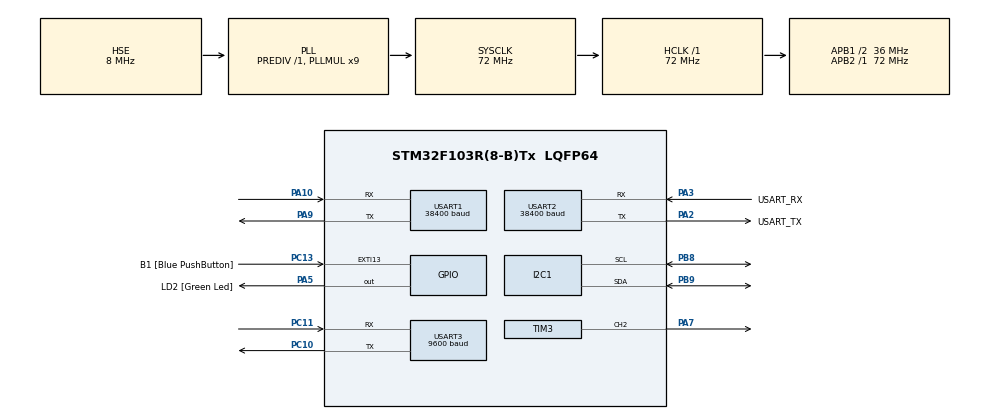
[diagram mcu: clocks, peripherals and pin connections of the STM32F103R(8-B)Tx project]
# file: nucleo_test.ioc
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I2C1.I2C_Mode=I2C_Standard
I2C1.OwnAddress=127
Mcu.Family=STM32F1
Mcu.Name=STM32F103R(8-B)Tx
Mcu.Package=LQFP64
NVIC.EXTI15_10_IRQn=true\:0\:0\:false\:false\:true\:true\:true\:true
NVIC.PriorityGroup=NVIC_PRIORITYGROUP_4
NVIC.TIM3_IRQn=true\:0\:0\:false\:false\:true\:true\:true\:true
NVIC.USART1_IRQn=true\:0\:0\:false\:false\:true\:true\:true\:true
NVIC.USART2_IRQn=true\:0\:0\:false\:false\:true\:true\:true\:true
NVIC.USART3_IRQn=true\:0\:0\:false\:false\:true\:true\:true\:true
PA10.Mode=Asynchronous
PA10.Signal=USART1_RX
PA13.GPIO_Label=TMS
PA13.Mode=Serial_Wire
PA13.Signal=SYS_JTMS-SWDIO
PA14.GPIO_Label=TCK
PA14.Mode=Serial_Wire
PA14.Signal=SYS_JTCK-SWCLK
PA2.GPIO_Label=USART_TX
PA2.GPIO_Mode=GPIO_MODE_AF_PP
PA2.GPIO_PuPd=GPIO_NOPULL
PA2.GPIO_Speed=GPIO_SPEED_FREQ_LOW
PA2.Mode=Asynchronous
PA2.Signal=USART2_TX
PA3.GPIO_Label=USART_RX
PA3.GPIO_Mode=GPIO_MODE_AF_PP
PA3.GPIO_PuPd=GPIO_NOPULL
PA3.GPIO_Speed=GPIO_SPEED_FREQ_LOW
PA3.Mode=Asynchronous
PA3.Signal=USART2_RX
PA5.GPIO_Label=LD2 [Green Led]
PA5.GPIO_ModeDefaultOutputPP=GPIO_MODE_OUTPUT_PP
PA5.GPIO_PuPd=GPIO_NOPULL
PA5.GPIO_Speed=GPIO_SPEED_FREQ_LOW
PA5.Signal=GPIO_Output
PA7.Signal=S_TIM3_CH2
PA9.Mode=Asynchronous
PA9.Signal=USART1_TX
PB3.GPIO_Label=SWO
PB3.Signal=SYS_JTDO-TRACESWO
PB8.Mode=I2C
PB8.Signal=I2C1_SCL
PB9.Mode=I2C
PB9.Signal=I2C1_SDA
PC10.Mode=Asynchronous
PC10.Signal=USART3_TX
PC11.Mode=Asynchronous
PC11.Signal=USART3_RX
PC13-TAMPER-RTC.GPIO_Label=B1 [Blue PushButton]
PC13-TAMPER-RTC.GPIO_PuPd=GPIO_NOPULL
PC13-TAMPER-RTC.Signal=GPXTI13
PC14-OSC32_IN.Signal=RCC_OSC32_IN
PC15-OSC32_OUT.Signal=RCC_OSC32_OUT
PD0-OSC_IN.Mode=HSE-External-Oscillator
PD0-OSC_IN.Signal=RCC_OSC_IN
PD1-OSC_OUT.Mode=HSE-External-Oscillator
PD1-OSC_OUT.Signal=RCC_OSC_OUT
ProjectManager.HeapSize=0x200
ProjectManager.StackSize=0x400
ProjectManager.TargetToolchain=STM32CubeIDE
RCC.AHBFreq_Value=72000000
RCC.APB1CLKDivider=RCC_HCLK_DIV2
RCC.APB1Freq_Value=36000000
RCC.APB1TimFreq_Value=72000000
RCC.APB2Freq_Value=72000000
RCC.APB2TimFreq_Value=72000000
RCC.HCLKFreq_Value=72000000
RCC.PLLMUL=RCC_PLL_MUL9
RCC.PLLSourceVirtual=RCC_PLLSOURCE_HSE
RCC.RTCClockSelection=RCC_RTCCLKSOURCE_LSE
RCC.SYSCLKFreq_VALUE=72000000
RCC.SYSCLKSource=RCC_SYSCLKSOURCE_PLLCLK
RCC.USBFreq_Value=72000000
SH.S_TIM3_CH2.0=TIM3_CH2,PWM Generation2 CH2
TIM3.Channel-PWM\ Generation2\ CH2=TIM_CHANNEL_2
TIM3.Period=1000-1
TIM3.Prescaler=1440-1
TIM3.Pulse-PWM\ Generation2\ CH2=500-1
USART1.BaudRate=38400
USART1.VirtualMode=VM_ASYNC
USART2.BaudRate=38400
USART2.VirtualMode=VM_ASYNC
USART3.BaudRate=9600
USART3.VirtualMode=VM_ASYNC
VP_TIM3_VS_ClockSourceINT.Mode=Internal
board=NUCLEO-F103RB

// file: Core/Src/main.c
/* USER CODE BEGIN Header */
/**
  ******************************************************************************
  * @file           : main.c
  * @brief          : Main program body
  ******************************************************************************
  * @attention
  *
  * Copyright (c) 2024 STMicroelectronics.
  * All rights reserved.
  *
  * This software is licensed under terms that can be found in the LICENSE file
  * in the root directory of this software component.
  * If no LICENSE file comes with this software, it is provided AS-IS.
  *
  ******************************************************************************
  */
/* USER CODE END Header */
#include "main.h"

/* USER CODE BEGIN Includes */
#include "stdio.h"
#include "i2c_lcd.h"
/* USER CODE END Includes */

I2C_HandleTypeDef hi2c1;

TIM_HandleTypeDef htim3;

UART_HandleTypeDef huart1;
UART_HandleTypeDef huart2;
UART_HandleTypeDef huart3;

/* USER CODE BEGIN PV */
uint8_t RX_FSRH1S_INDX;
uint8_t RX_HC05_INDX;
uint8_t RX_DATA_FSRH1S[5];
uint8_t RX_DATA_HC05[5];
//uint8_t transfer_cplt;
uint8_t FSRH1S_MAX_LENGTH = 14;
uint8_t HC05_MAX_LENGTH = 4;
uint8_t RX_FSRH1S_BUFFER[14];
uint8_t RX_HC05_BUFFER[4];
uint8_t flag= 0;
I2C_HandleTypeDef hi2c1;
i2cLcd_HandleTypeDef h_lcd;
char strData[32];
/* USER CODE END PV */

void SystemClock_Config(void);
static void MX_GPIO_Init(void);
static void MX_USART2_UART_Init(void);
static void MX_USART3_UART_Init(void);
static void MX_USART1_UART_Init(void);
static void MX_I2C1_Init(void);
static void MX_TIM3_Init(void);

/* USER CODE BEGIN 0 */
void RFID_SECERN_USER();
void HC05_identification();
void i2cLcd_HelloGuest();
void i2cLcd_intruder();
void i2cLcd_HelloUser();
void PWM_Serovomotor();
/* USER CODE END 0 */

int main(void)
{

  /* USER CODE BEGIN 1 */
	uint8_t i2c_lcd_addr = (0x27<<1);
  /* USER CODE END 1 */

  /* MCU Configuration--------------------------------------------------------*/

  /* Reset of all peripherals, Initializes the Flash interface and the Systick. */
  HAL_Init();

  /* Configure the system clock */
  SystemClock_Config();

  /* Initialize all configured peripherals */
  MX_GPIO_Init();
  MX_USART2_UART_Init();
  MX_USART3_UART_Init();
  MX_USART1_UART_Init();
  MX_I2C1_Init();
  MX_TIM3_Init();
  /* USER CODE BEGIN 2 */
  HAL_UART_Receive_IT(&huart2, RX_DATA_FSRH1S, 1);
  HAL_UART_Receive_IT(&huart3, RX_DATA_HC05, 1); // sss
  HAL_UART_Receive_IT(&huart1, RX_DATA_FSRH1S, 1);
  HAL_TIM_PWM_Start(&htim3,TIM_CHANNEL_2); // Add PWM Servo Motor
  i2cLcd_CreateHandle(&h_lcd, &hi2c1, i2c_lcd_addr);
  i2cLcd_Init(&h_lcd);
  //i2cLcd_ClearDisplay(&h_lcd);
  //sprintf(strData,"Hello world!!");
  // HAL_Delay(1000);
  /* USER CODE END 2 */

  /* Infinite loop */
  /* USER CODE BEGIN WHILE */
	  while (1)
	  {
		  switch(flag)
		  {
		  	  case 0 :
		  		  i2cLcd_HelloGuest();
			  	  break;
		  	  case 1 :
		  		  i2cLcd_HelloUser();
		  		  PWM_Serovomotor();
		  		  break;
		  	  case 2 :
		  		  i2cLcd_intruder();
		  		  break;
		  	  default :
		  		  break;
		  }
    /* USER CODE END WHILE */

    /* USER CODE BEGIN 3 */
	  }

    /* USER CODE END WHILE */

    /* USER CODE BEGIN 3 */

  /* USER CODE END 3 */
}

void SystemClock_Config(void)
{
  RCC_OscInitTypeDef RCC_OscInitStruct = {0};
  RCC_ClkInitTypeDef RCC_ClkInitStruct = {0};

  /** Initializes the RCC Oscillators according to the specified parameters
  * in the RCC_OscInitTypeDef structure.
  */
  RCC_OscInitStruct.OscillatorType = RCC_OSCILLATORTYPE_HSE;
  RCC_OscInitStruct.HSEState = RCC_HSE_ON;
  RCC_OscInitStruct.HSEPredivValue = RCC_HSE_PREDIV_DIV1;
  RCC_OscInitStruct.HSIState = RCC_HSI_ON;
  RCC_OscInitStruct.PLL.PLLState = RCC_PLL_ON;
  RCC_OscInitStruct.PLL.PLLSource = RCC_PLLSOURCE_HSE;
  RCC_OscInitStruct.PLL.PLLMUL = RCC_PLL_MUL9;
  if (HAL_RCC_OscConfig(&RCC_OscInitStruct) != HAL_OK)
  {
    Error_Handler();
  }

  /** Initializes the CPU, AHB and APB buses clocks
  */
  RCC_ClkInitStruct.ClockType = RCC_CLOCKTYPE_HCLK|RCC_CLOCKTYPE_SYSCLK
                              |RCC_CLOCKTYPE_PCLK1|RCC_CLOCKTYPE_PCLK2;
  RCC_ClkInitStruct.SYSCLKSource = RCC_SYSCLKSOURCE_PLLCLK;
  RCC_ClkInitStruct.AHBCLKDivider = RCC_SYSCLK_DIV1;
  RCC_ClkInitStruct.APB1CLKDivider = RCC_HCLK_DIV2;
  RCC_ClkInitStruct.APB2CLKDivider = RCC_HCLK_DIV1;

  if (HAL_RCC_ClockConfig(&RCC_ClkInitStruct, FLASH_LATENCY_2) != HAL_OK)
  {
    Error_Handler();
  }
}

static void MX_I2C1_Init(void)
{

  hi2c1.Instance = I2C1;
  hi2c1.Init.ClockSpeed = 100000;
  hi2c1.Init.DutyCycle = I2C_DUTYCYCLE_2;
  hi2c1.Init.OwnAddress1 = 254;
  hi2c1.Init.AddressingMode = I2C_ADDRESSINGMODE_7BIT;
  hi2c1.Init.DualAddressMode = I2C_DUALADDRESS_DISABLE;
  hi2c1.Init.OwnAddress2 = 0;
  hi2c1.Init.GeneralCallMode = I2C_GENERALCALL_DISABLE;
  hi2c1.Init.NoStretchMode = I2C_NOSTRETCH_DISABLE;
  if (HAL_I2C_Init(&hi2c1) != HAL_OK)
  {
    Error_Handler();
  }

}

static void MX_TIM3_Init(void)
{

  TIM_ClockConfigTypeDef sClockSourceConfig = {0};
  TIM_MasterConfigTypeDef sMasterConfig = {0};
  TIM_OC_InitTypeDef sConfigOC = {0};

  htim3.Instance = TIM3;
  htim3.Init.Prescaler = 1440-1;
  htim3.Init.CounterMode = TIM_COUNTERMODE_UP;
  htim3.Init.Period = 1000-1;
  htim3.Init.ClockDivision = TIM_CLOCKDIVISION_DIV1;
  htim3.Init.AutoReloadPreload = TIM_AUTORELOAD_PRELOAD_DISABLE;
  if (HAL_TIM_Base_Init(&htim3) != HAL_OK)
  {
    Error_Handler();
  }
  sClockSourceConfig.ClockSource = TIM_CLOCKSOURCE_INTERNAL;
  if (HAL_TIM_ConfigClockSource(&htim3, &sClockSourceConfig) != HAL_OK)
  {
    Error_Handler();
  }
  if (HAL_TIM_PWM_Init(&htim3) != HAL_OK)
  {
    Error_Handler();
  }
  sMasterConfig.MasterOutputTrigger = TIM_TRGO_RESET;
  sMasterConfig.MasterSlaveMode = TIM_MASTERSLAVEMODE_DISABLE;
  if (HAL_TIMEx_MasterConfigSynchronization(&htim3, &sMasterConfig) != HAL_OK)
  {
    Error_Handler();
  }
  sConfigOC.OCMode = TIM_OCMODE_PWM1;
  sConfigOC.Pulse = 500-1;
  sConfigOC.OCPolarity = TIM_OCPOLARITY_HIGH;
  sConfigOC.OCFastMode = TIM_OCFAST_DISABLE;
  if (HAL_TIM_PWM_ConfigChannel(&htim3, &sConfigOC, TIM_CHANNEL_2) != HAL_OK)
  {
    Error_Handler();
  }
  HAL_TIM_MspPostInit(&htim3);

}

static void MX_USART1_UART_Init(void)
{

  huart1.Instance = USART1;
  huart1.Init.BaudRate = 38400;
  huart1.Init.WordLength = UART_WORDLENGTH_8B;
  huart1.Init.StopBits = UART_STOPBITS_1;
  huart1.Init.Parity = UART_PARITY_NONE;
  huart1.Init.Mode = UART_MODE_TX_RX;
  huart1.Init.HwFlowCtl = UART_HWCONTROL_NONE;
  huart1.Init.OverSampling = UART_OVERSAMPLING_16;
  if (HAL_UART_Init(&huart1) != HAL_OK)
  {
    Error_Handler();
  }

}

static void MX_USART2_UART_Init(void)
{

  huart2.Instance = USART2;
  huart2.Init.BaudRate = 38400;
  huart2.Init.WordLength = UART_WORDLENGTH_8B;
  huart2.Init.StopBits = UART_STOPBITS_1;
  huart2.Init.Parity = UART_PARITY_NONE;
  huart2.Init.Mode = UART_MODE_TX_RX;
  huart2.Init.HwFlowCtl = UART_HWCONTROL_NONE;
  huart2.Init.OverSampling = UART_OVERSAMPLING_16;
  if (HAL_UART_Init(&huart2) != HAL_OK)
  {
    Error_Handler();
  }

}

static void MX_USART3_UART_Init(void)
{

  huart3.Instance = USART3;
  huart3.Init.BaudRate = 9600;
  huart3.Init.WordLength = UART_WORDLENGTH_8B;
  huart3.Init.StopBits = UART_STOPBITS_1;
  huart3.Init.Parity = UART_PARITY_NONE;
  huart3.Init.Mode = UART_MODE_TX_RX;
  huart3.Init.HwFlowCtl = UART_HWCONTROL_NONE;
  huart3.Init.OverSampling = UART_OVERSAMPLING_16;
  if (HAL_UART_Init(&huart3) != HAL_OK)
  {
    Error_Handler();
  }

}

static void MX_GPIO_Init(void)
{
  GPIO_InitTypeDef GPIO_InitStruct = {0};

  /* GPIO Ports Clock Enable */
  __HAL_RCC_GPIOC_CLK_ENABLE();
  __HAL_RCC_GPIOD_CLK_ENABLE();
  __HAL_RCC_GPIOA_CLK_ENABLE();
  __HAL_RCC_GPIOB_CLK_ENABLE();

  /*Configure GPIO pin Output Level */
  HAL_GPIO_WritePin(LD2_GPIO_Port, LD2_Pin, GPIO_PIN_RESET);

  /*Configure GPIO pin : B1_Pin */
  GPIO_InitStruct.Pin = B1_Pin;
  GPIO_InitStruct.Mode = GPIO_MODE_IT_RISING;
  GPIO_InitStruct.Pull = GPIO_NOPULL;
  HAL_GPIO_Init(B1_GPIO_Port, &GPIO_InitStruct);

  /*Configure GPIO pin : LD2_Pin */
  GPIO_InitStruct.Pin = LD2_Pin;
  GPIO_InitStruct.Mode = GPIO_MODE_OUTPUT_PP;
  GPIO_InitStruct.Pull = GPIO_NOPULL;
  GPIO_InitStruct.Speed = GPIO_SPEED_FREQ_LOW;
  HAL_GPIO_Init(LD2_GPIO_Port, &GPIO_InitStruct);

  /* EXTI interrupt init*/
  HAL_NVIC_SetPriority(EXTI15_10_IRQn, 0, 0);
  HAL_NVIC_EnableIRQ(EXTI15_10_IRQn);

}

/* USER CODE BEGIN 4 */
void HAL_UART_RxCpltCallback(UART_HandleTypeDef *huart)
{
  /* Prevent unused argument(s) compilation warning */
  UNUSED(huart);
  /* NOTE: This function should not be modified, when the callback is needed,
           the HAL_UART_RxCpltCallback could be implemented in the user file
   */
 // HAL_UART_Transmit(&huart2, RX_DATA_FSRH1S, 6,100);
  uint8_t i;
  uint8_t j;
  /* UART1 = RFID UART2 = main computer UART3 = HC-05*/
  if(huart ->Instance == USART1)// && huart -> Instance != USART3
  {
	  	  if(RX_FSRH1S_INDX == 0 || RX_FSRH1S_INDX == FSRH1S_MAX_LENGTH) //rx_index Arry Initialization
	  	  {
	  		  for(i=0;i<FSRH1S_MAX_LENGTH;i++)
	  		  {
	  			  RX_FSRH1S_BUFFER[i] = 0;
	  		  }
	  		  HAL_GPIO_WritePin(GPIOA,GPIO_PIN_5,GPIO_PIN_RESET);

	  		  if(RX_FSRH1S_INDX == FSRH1S_MAX_LENGTH)
	  		  {
	  			  RX_FSRH1S_INDX = 0;
	  		  }
	  	  }

	  	  if(RX_DATA_FSRH1S[0] != 13)
	  	  {
	  		RX_FSRH1S_BUFFER[RX_FSRH1S_INDX++] = RX_DATA_FSRH1S[0];
	  	  }

	  	  RFID_SECERN_USER();
	  HAL_UART_Receive_IT(&huart1, RX_DATA_FSRH1S, 1); //RFID Tag receive!!
  }
  if(huart ->Instance == USART3)
  {
		  if(RX_HC05_INDX == 0 || RX_HC05_INDX == HC05_MAX_LENGTH) //rx_index Arry Initialization
		  {
			  for(j=0;j<HC05_MAX_LENGTH;j++)
			  {
				  RX_HC05_BUFFER[j] = 0;
			  }
				  HAL_GPIO_WritePin(GPIOA,GPIO_PIN_5,GPIO_PIN_RESET);

			  if(RX_HC05_INDX == HC05_MAX_LENGTH)
			  {
				  RX_HC05_INDX = 0;
			  }
		  }
		  if(RX_DATA_HC05[0] != 13)
		  {
			  RX_HC05_BUFFER[RX_HC05_INDX++] = RX_DATA_HC05[0];
		  }
		  HC05_identification();
  }

  	  HAL_UART_Receive_IT(&huart3, RX_DATA_HC05, 1);

}

void RFID_SECERN_USER() //get UID code and secern
{
			if(RX_FSRH1S_BUFFER[0] == 0x33 && RX_FSRH1S_BUFFER[1] == 0x0E && RX_FSRH1S_BUFFER[2] == 0x1A)
		  {
		  		  if(RX_FSRH1S_BUFFER[5] == 0x6D && RX_FSRH1S_BUFFER[6] == 0x16 && RX_FSRH1S_BUFFER[7] == 0x21 && RX_FSRH1S_BUFFER[8] == 0xC2 && RX_FSRH1S_BUFFER[9] == 0x50 && RX_FSRH1S_BUFFER[10] == 0x01 && RX_FSRH1S_BUFFER[11] == 0x04 && RX_FSRH1S_BUFFER[12] == 0xE0 && RX_FSRH1S_BUFFER[13] == 0x99)
				{
					HAL_GPIO_WritePin(GPIOA,GPIO_PIN_5,GPIO_PIN_SET);
					flag =1;
				}
		  		  else if(RX_FSRH1S_BUFFER[5] == 0x2D && RX_FSRH1S_BUFFER[6] == 0x00 && RX_FSRH1S_BUFFER[7] == 0x21 && RX_FSRH1S_BUFFER[8] == 0xC2 && RX_FSRH1S_BUFFER[9] == 0x50 && RX_FSRH1S_BUFFER[10] == 0x01 && RX_FSRH1S_BUFFER[11] == 0x04 && RX_FSRH1S_BUFFER[12] == 0xE0 && RX_FSRH1S_BUFFER[13] == 0x99)
		  		{
		  			HAL_GPIO_WritePin(GPIOA,GPIO_PIN_5,GPIO_PIN_SET);
		  			flag =1;
		  		}
		  		  else if(RX_FSRH1S_BUFFER[5] == 0x42 && RX_FSRH1S_BUFFER[6] == 0x1D && RX_FSRH1S_BUFFER[7] == 0x21 && RX_FSRH1S_BUFFER[8] == 0xC2 && RX_FSRH1S_BUFFER[9] == 0x50 && RX_FSRH1S_BUFFER[10] == 0x01 && RX_FSRH1S_BUFFER[11] == 0x04 && RX_FSRH1S_BUFFER[12] == 0xE0 && RX_FSRH1S_BUFFER[13] == 0x99)
		  		{
		  			HAL_GPIO_WritePin(GPIOA,GPIO_PIN_5,GPIO_PIN_SET);
		  			flag =1;
		  		}
		  		else
		  			flag = 2;
		  }
}
void HC05_identification()
{

	if(RX_HC05_BUFFER[0] == 0x31 && RX_HC05_BUFFER[1] == 0x32 && RX_HC05_BUFFER[2] == 0x33 && RX_HC05_BUFFER[3] == 0x34)
	{
		HAL_GPIO_WritePin(GPIOA,GPIO_PIN_5,GPIO_PIN_SET);
		flag = 1;
	}
	else
		flag = 2;
}

void i2cLcd_HelloGuest()
{
	      uint8_t i=0;

		  i2cLcd_ClearDisplay(&h_lcd);
		  HAL_Delay(20);
		  i2cLcd_SetCursorPosition(&h_lcd, 0x00);
		  sprintf(strData,"Hello guest!!");
		  HAL_Delay(20);
			  while(strData[i])
			  {
				  i2cLcd_SendChar(&h_lcd, strData[i]);
				  HAL_Delay(100);
				  i++;
			  }
		  i2cLcd_SetCursorPosition(&h_lcd, 0x40);
		  i=0;
		  sprintf(strData,"Tag your UID");
			  while(strData[i])
			  {
				  i2cLcd_SendChar(&h_lcd, strData[i]);
				  HAL_Delay(100);
				  i++;
			  }
}

void i2cLcd_intruder()
{
	        uint8_t i=0;
			i2cLcd_ClearDisplay(&h_lcd);
			HAL_Delay(20);
			i2cLcd_SetCursorPosition(&h_lcd, 0x00);
			sprintf(strData,"Error!! Error!");
			HAL_Delay(20);
			while(strData[i])
			{
				i2cLcd_SendChar(&h_lcd, strData[i]);
				HAL_Delay(100);
				i++;
			}

}

void i2cLcd_HelloUser()
{
	        uint8_t i=0;
			i2cLcd_ClearDisplay(&h_lcd);
			HAL_Delay(20);
			i2cLcd_SetCursorPosition(&h_lcd, 0x00);
			sprintf(strData,"Welcome!!");
			HAL_Delay(20);
			while(strData[i])
			{
				i2cLcd_SendChar(&h_lcd, strData[i]);
				HAL_Delay(100);
				i++;
			}
			i2cLcd_SetCursorPosition(&h_lcd, 0x40);
			i=0;
			sprintf(strData,"open the door!");
			 while(strData[i])
		    {
				i2cLcd_SendChar(&h_lcd, strData[i]);
				HAL_Delay(100);
				i++;
		    }

}

void PWM_Serovomotor()
{
	__HAL_TIM_SetCompare(&htim3, TIM_CHANNEL_2,125); //open
		HAL_Delay(3000); // 1000ms
	__HAL_TIM_SetCompare(&htim3, TIM_CHANNEL_2, 25); //close
		HAL_Delay(500); // 1000ms
}

void HAL_TIM_PeriodElapsedCallback(TIM_HandleTypeDef *htim)
{
  if(htim->Instance == TIM2)
  {
    HAL_GPIO_TogglePin(GPIOA, GPIO_PIN_5);
  }
}

/* USER CODE END 4 */

void Error_Handler(void)
{
  __disable_irq();
  while (1)
  {
  }
}
